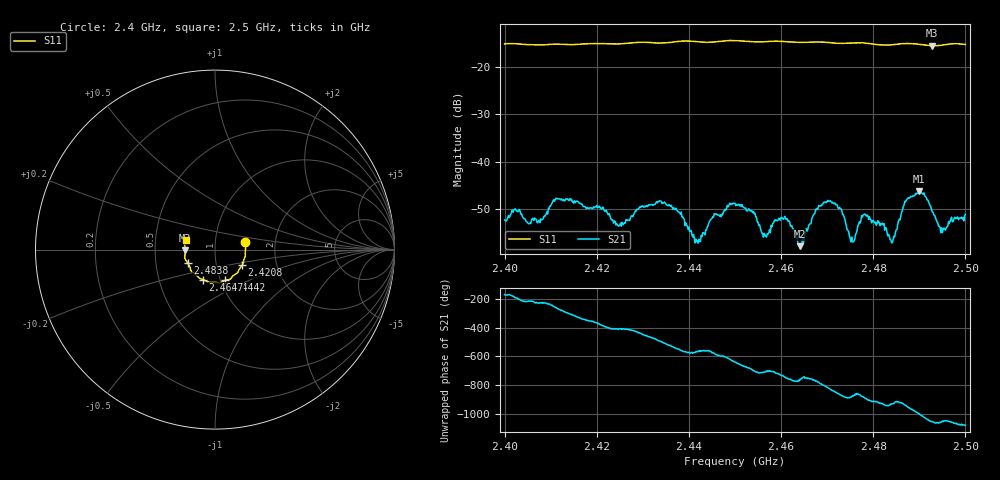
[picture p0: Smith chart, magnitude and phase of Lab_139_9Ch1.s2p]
# Hz S RI R
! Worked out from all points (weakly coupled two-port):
!   601 points, 2.4 GHz to 2.5 GHz, reference 50 ohm
!   highest |S21| = -46.28 dB at 2.49 GHz (marker M1); lowest = -57.8 dB at 2.464 GHz (marker M2)
!   lowest |S11| = -15.6 dB at 2.4928 GHz (marker M3), VSWR 1.40, Z = 35.8 - j0.367 ohm
!   |S11| at or under -10 dB: start of sweep to end of sweep
!   S12 and S22 are empty: the file has one direction only
!   S11 on the Smith chart (normalised r, x): 2.4 GHz: 1.40, +0.12; 2.4208 GHz: 1.33, -0.24; 2.4442 GHz: 1.05, -0.37; 2.4647 GHz: 0.83, -0.29; 2.4838 GHz: 0.73, -0.11; 2.5 GHz: 0.72, +0.08
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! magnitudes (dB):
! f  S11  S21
! 2.4 GHz  -15.2  -52.3
! 2.4167 GHz  -15.3  -48.9
! 2.4208 GHz  -15.1  -49.7
! 2.4248 GHz  -15.2  -53.5
! 2.4333 GHz  -15.0  -48.4
! 2.4417 GHz  -14.7  -56.9
! 2.4442 GHz  -14.9  -53.4
! 2.45 GHz  -14.5  -48.7
! 2.4563 GHz  -14.8  -55.1
! 2.4612 GHz  -14.8  -52.1
! 2.464 GHz  -14.9  -57.8
! 2.4647 GHz  -14.9  -55.9
! 2.4667 GHz  -14.8  -52.0
! 2.4707 GHz  -15.0  -48.2
! 2.4755 GHz  -15.0  -56.9
! 2.4783 GHz  -15.0  -51.2
! 2.4833 GHz  -15.5  -55.3
! 2.4838 GHz  -15.4  -56.5
! 2.49 GHz  -15.3  -46.3
! 2.4928 GHz  -15.6  -50.6
! 2.4952 GHz  -15.4  -54.3
! 2.5 GHz  -15.3  -51.1
